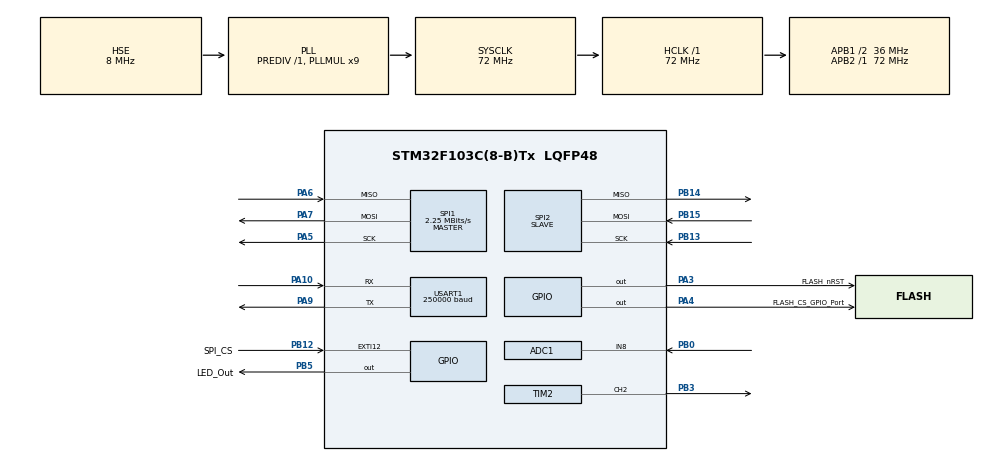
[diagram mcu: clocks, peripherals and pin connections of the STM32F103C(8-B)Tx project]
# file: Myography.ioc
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ADC1.Channel-1\#ChannelRegularConversion=ADC_CHANNEL_8
ADC1.ExternalTrigConv=ADC_EXTERNALTRIGCONV_T3_TRGO
ADC1.NbrOfConversionFlag=1
ADC1.Rank-1\#ChannelRegularConversion=1
ADC1.SamplingTime-1\#ChannelRegularConversion=ADC_SAMPLETIME_1CYCLE_5
ADC1.master=1
Mcu.Family=STM32F1
Mcu.Name=STM32F103C(8-B)Tx
Mcu.Package=LQFP48
NVIC.ADC1_2_IRQn=true\:2\:0\:true\:false\:true\:true\:true\:true
NVIC.EXTI15_10_IRQn=true\:1\:0\:true\:false\:true\:true\:true\:true
NVIC.PriorityGroup=NVIC_PRIORITYGROUP_4
NVIC.SPI2_IRQn=true\:1\:0\:true\:false\:true\:true\:true\:true
NVIC.TIM1_UP_IRQn=true\:0\:0\:false\:false\:true\:true\:true\:true
NVIC.TIM3_IRQn=true\:2\:0\:true\:false\:true\:true\:true\:true
NVIC.TIM4_IRQn=true\:3\:0\:true\:false\:true\:true\:true\:true
NVIC.USART1_IRQn=true\:2\:0\:true\:false\:true\:true\:true\:true
PA10.Mode=Asynchronous
PA10.Signal=USART1_RX
PA13.Mode=Serial_Wire
PA13.Signal=SYS_JTMS-SWDIO
PA14.Mode=Serial_Wire
PA14.Signal=SYS_JTCK-SWCLK
PA3.GPIO_Label=FLASH_nRST
PA3.Signal=GPIO_Output
PA4.GPIO_Label=FLASH_CS_GPIO_Port
PA4.Signal=GPIO_Output
PA5.Mode=Full_Duplex_Master
PA5.Signal=SPI1_SCK
PA6.Mode=Full_Duplex_Master
PA6.Signal=SPI1_MISO
PA7.Mode=Full_Duplex_Master
PA7.Signal=SPI1_MOSI
PA9.Mode=Asynchronous
PA9.Signal=USART1_TX
PB0.Signal=ADCx_IN8
PB12.GPIO_Label=SPI_CS
PB12.GPIO_ModeDefaultEXTI=GPIO_MODE_IT_RISING_FALLING
PB12.Signal=GPXTI12
PB13.Mode=Full_Duplex_Slave
PB13.Signal=SPI2_SCK
PB14.Mode=Full_Duplex_Slave
PB14.Signal=SPI2_MISO
PB15.Mode=Full_Duplex_Slave
PB15.Signal=SPI2_MOSI
PB3.Signal=S_TIM2_CH2
PB5.GPIO_Label=LED_Out
PB5.Signal=GPIO_Output
PD0-OSC_IN.Mode=HSE-External-Oscillator
PD0-OSC_IN.Signal=RCC_OSC_IN
PD1-OSC_OUT.Mode=HSE-External-Oscillator
PD1-OSC_OUT.Signal=RCC_OSC_OUT
ProjectManager.HeapSize=0x200
ProjectManager.StackSize=0x400
ProjectManager.TargetToolchain=STM32CubeIDE
RCC.ADCPresc=RCC_ADCPCLK2_DIV6
RCC.AHBFreq_Value=72000000
RCC.APB1CLKDivider=RCC_HCLK_DIV2
RCC.APB1Freq_Value=36000000
RCC.APB1TimFreq_Value=72000000
RCC.APB2Freq_Value=72000000
RCC.APB2TimFreq_Value=72000000
RCC.HCLKFreq_Value=72000000
RCC.PLLMUL=RCC_PLL_MUL9
RCC.PLLSourceVirtual=RCC_PLLSOURCE_HSE
RCC.SYSCLKFreq_VALUE=72000000
RCC.SYSCLKSource=RCC_SYSCLKSOURCE_PLLCLK
RCC.USBFreq_Value=72000000
SH.ADCx_IN8.0=ADC1_IN8,IN8
SH.S_TIM2_CH2.0=TIM2_CH2,PWM Generation2 CH2
SPI1.BaudRatePrescaler=SPI_BAUDRATEPRESCALER_32
SPI1.CLKPhase=SPI_PHASE_1EDGE
SPI1.CalculateBaudRate=2.25 MBits/s
SPI1.Direction=SPI_DIRECTION_2LINES
SPI1.Mode=SPI_MODE_MASTER
SPI1.VirtualType=VM_MASTER
SPI2.Direction=SPI_DIRECTION_2LINES
SPI2.Mode=SPI_MODE_SLAVE
SPI2.VirtualType=VM_SLAVE
TIM1.Period=9
TIM1.Prescaler=7199
TIM2.Channel-PWM\ Generation2\ CH2=TIM_CHANNEL_2
TIM2.OCPolarity_2=TIM_OCPOLARITY_LOW
TIM2.Period=501
TIM2.Prescaler=72
TIM2.Pulse-PWM\ Generation2\ CH2=1
TIM3.Period=999
TIM3.Prescaler=72
TIM3.TIM_MasterOutputTrigger=TIM_TRGO_OC1
TIM4.Period=1000
TIM4.Prescaler=65535
USART1.BaudRate=250000
USART1.VirtualMode=VM_ASYNC
VP_TIM1_VS_ClockSourceINT.Mode=Internal
VP_TIM2_VS_ClockSourceINT.Mode=Internal
VP_TIM2_VS_OPM.Mode=OPM_bit
VP_TIM3_VS_ClockSourceINT.Mode=Internal
VP_TIM4_VS_ClockSourceINT.Mode=Internal
board=custom

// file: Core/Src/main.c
/* USER CODE BEGIN Header */
/**
  ******************************************************************************
  * @file           : main.c
  * @brief          : Main program body
  ******************************************************************************
  * @attention
  *
  * Copyright (c) 2026 STMicroelectronics.
  * All rights reserved.
  *
  * This software is licensed under terms that can be found in the LICENSE file
  * in the root directory of this software component.
  * If no LICENSE file comes with this software, it is provided AS-IS.
  *
  ******************************************************************************
  */
/* USER CODE END Header */
#include "main.h"

/* USER CODE BEGIN Includes */
#include <stdio.h>
#include <string.h>
#include "w25q_spi.h"
#include "SPI_connection.h"
#include "protocol_parser.h"
#include "exp_protocol.h"
/* USER CODE END Includes */

ADC_HandleTypeDef hadc1;

SPI_HandleTypeDef hspi1;
SPI_HandleTypeDef hspi2;

TIM_HandleTypeDef htim1;
TIM_HandleTypeDef htim2;
TIM_HandleTypeDef htim3;
TIM_HandleTypeDef htim4;

UART_HandleTypeDef huart1;

/* USER CODE BEGIN PV */
extern w25_info_t  w25_info;
uint8_t rx_buf[1025];
uint8_t tx_buf[10];
extern volatile uint16_t ADC_data;
volatile char need_save = 0; // 0-idle, 1-save data
volatile char new_conv = 0; //new ADC conversion done
volatile uint32_t buf_ptr = 0, page_ptr = 0;
uint8_t res_buf[256] = {0};
bool write_cycle_closed = 0;
bool reach_end_of_flash = 0;
volatile uint16_t ADC_data_safe[10];
uint8_t data_buf[256];

bool need_to_send = false;
uint16_t ADC_data_safe_1;
/* USER CODE END PV */

void SystemClock_Config(void);
static void MX_GPIO_Init(void);
static void MX_SPI2_Init(void);
static void MX_USART1_UART_Init(void);
static void MX_SPI1_Init(void);
static void MX_TIM3_Init(void);
static void MX_ADC1_Init(void);
static void MX_TIM2_Init(void);
static void MX_TIM1_Init(void);
static void MX_TIM4_Init(void);

/* USER CODE BEGIN 0 */
volatile uint8_t dt1[10];
/* USER CODE END 0 */

int main(void)
{
  /* USER CODE BEGIN 1 */
//char uart_mode = 0;
  /* USER CODE END 1 */

  /* MCU Configuration--------------------------------------------------------*/

  /* Reset of all peripherals, Initializes the Flash interface and the Systick. */
  HAL_Init();

  /* Configure the system clock */
  SystemClock_Config();

  /* Initialize all configured peripherals */
  MX_GPIO_Init();
  MX_SPI2_Init();
  MX_USART1_UART_Init();
  MX_SPI1_Init();
  MX_TIM3_Init();
  MX_ADC1_Init();
  MX_TIM2_Init();
  MX_TIM1_Init();
  MX_TIM4_Init();
  /* USER CODE BEGIN 2 */
  //sensorInit();

  HAL_ADC_Start_IT(&hadc1);

  uart_init();
  /* USER CODE END 2 */

  /* Infinite loop */
  /* USER CODE BEGIN WHILE */

  while (1)
  {

	if (uart1_rx_complete) {
		parser_exp();
	}

	if (need_to_send) {
		need_to_send = false;
		send_data(ADC_data_safe_1);
	}

	  /*
	  if (spi_rx_complete) {
		  spi_rx_complete = false;
		  parserFSM();
	  }

	if (dt1[0] != 0 ) //received UART cmd
	{
	  HAL_UART_Receive_IT(&huart1,(uint8_t*)dt1,1);  //wait for cmd
	  //commands
	  if(dt1[0] == '0') //erase mem
	  {
		HAL_GPIO_WritePin(GPIOB, GPIO_PIN_5, GPIO_PIN_RESET);
		W25_Erase_Chip();
		page_ptr = 0;
		dt1[2] = 0x30; //mem is free
	  }
	  if(dt1[0] == '1') //start measure
	  {
		uart_mode = 0;
		HAL_GPIO_WritePin(GPIOB, GPIO_PIN_5, GPIO_PIN_RESET);
		need_save = 1;
	  }
	  if(dt1[0] == '2') //stop measure
	  {
		HAL_GPIO_WritePin(GPIOB, GPIO_PIN_5, GPIO_PIN_RESET);
		W25_Ini(0);
		need_save = 0;
	  }
	  if(dt1[0] == '3') //read mem, page addr in dt1[2..1]
	  {
		HAL_GPIO_WritePin(GPIOB, GPIO_PIN_5, GPIO_PIN_RESET);
		for ( uint32_t read_page_addr = 0; read_page_addr < 3900; read_page_addr++)
		{
		  W25_Read_Page(data_buf, read_page_addr, 0, w25_info.PageSize);
		  if ( (data_buf[0] == 0xFF) && (data_buf[1] == 0xFF) && (data_buf[2] == 0xFF) )
			break;
		  HAL_UART_Transmit(&huart1, data_buf, 256, 100);
		}
	  }
	  if(dt1[0] == '4')
	  {
		uart_mode = 1;
		HAL_GPIO_WritePin(GPIOB, GPIO_PIN_5, GPIO_PIN_RESET);
		need_save = 1;
	  }

	  if(dt1[0] == '9') //get flash ID
	  {
		HAL_GPIO_WritePin(GPIOB, GPIO_PIN_5, GPIO_PIN_RESET);
		W25_Ini(1);
		HAL_UART_Transmit(&huart1, (uint8_t const*)dt1+2, 1, 100);
	  }
	  dt1[0] = 0;
	  HAL_GPIO_WritePin(GPIOB, GPIO_PIN_5, GPIO_PIN_SET);
	} */

    // ADC_conv done
	/*
	if ((need_save) && (new_conv == 1)) //measure ongoing and new conversion recieved from ADC
	{
	 static union
	 {
	   uint16_t word;
	   uint8_t bytes[2];
	 } result_data;

	 new_conv = 0; //reset flag
	 result_data.word = ADC_data;
	 res_buf[buf_ptr] = result_data.bytes[0];
	 res_buf[buf_ptr+1] = result_data.bytes[1];
	 buf_ptr += 2;
	 if (buf_ptr > 255) //buf is full, need to save
	 {
	   HAL_GPIO_TogglePin(GPIOB, GPIO_PIN_5);
	   if (uart_mode) //send data to UART only (debug)
	   {
		 buf_ptr = 0;
		 HAL_UART_Transmit(&huart1, res_buf, 256, 100);
	   }
	   else //save to flash memory
	   {
		 if (page_ptr < w25_info.PageCount) //flash mem isn't full
		 {
			 W25_Write_Page(res_buf, page_ptr, 0, 256); //save 256 bytes to flash
			 buf_ptr = 0;
			 page_ptr++;
		 }
		 else
		 {
			 write_cycle_closed = 1;
			 need_save = 0;
			 dt1[2] = 0x31; //mem is full
		 }
	   }
	 }

	}

	// проверка на то, что флеш-память была считана до конца и был отправлен последний кадр данных
	if (reach_end_of_flash && !response_ready) {
		// сброс признака чтения конца флеш-памяти
		reach_end_of_flash = 0;

		// сохранение последнего внутреннего состояния датчика
		setLastFSMProtocolState(getFSMProtocolState());
		// переход в состояние сброса флеш-памяти
		setFSMProtocolState(RESET_FLASH_STATE);

		// сброс указателя номера записываемой страницы флеш
		page_ptr = 0;

		// очистка флеш-памяти
		HAL_GPIO_WritePin(GPIOB, GPIO_PIN_5, GPIO_PIN_RESET);
		W25_Erase_Chip();
		HAL_GPIO_WritePin(GPIOB, GPIO_PIN_5, GPIO_PIN_SET);
		// установка признака окончания стирания флеш-памяти (флаг проверяется в состоянии RESET_FLASH_STATE)
		reset_ready = 1;
	}
	*/
    /* USER CODE END WHILE */

  }
}

void SystemClock_Config(void)
{
  RCC_OscInitTypeDef RCC_OscInitStruct = {0};
  RCC_ClkInitTypeDef RCC_ClkInitStruct = {0};
  RCC_PeriphCLKInitTypeDef PeriphClkInit = {0};

  /** Initializes the RCC Oscillators according to the specified parameters
  * in the RCC_OscInitTypeDef structure.
  */
  RCC_OscInitStruct.OscillatorType = RCC_OSCILLATORTYPE_HSE;
  RCC_OscInitStruct.HSEState = RCC_HSE_ON;
  RCC_OscInitStruct.HSEPredivValue = RCC_HSE_PREDIV_DIV1;
  RCC_OscInitStruct.HSIState = RCC_HSI_ON;
  RCC_OscInitStruct.PLL.PLLState = RCC_PLL_ON;
  RCC_OscInitStruct.PLL.PLLSource = RCC_PLLSOURCE_HSE;
  RCC_OscInitStruct.PLL.PLLMUL = RCC_PLL_MUL9;
  if (HAL_RCC_OscConfig(&RCC_OscInitStruct) != HAL_OK)
  {
    Error_Handler();
  }

  /** Initializes the CPU, AHB and APB buses clocks
  */
  RCC_ClkInitStruct.ClockType = RCC_CLOCKTYPE_HCLK|RCC_CLOCKTYPE_SYSCLK
                              |RCC_CLOCKTYPE_PCLK1|RCC_CLOCKTYPE_PCLK2;
  RCC_ClkInitStruct.SYSCLKSource = RCC_SYSCLKSOURCE_PLLCLK;
  RCC_ClkInitStruct.AHBCLKDivider = RCC_SYSCLK_DIV1;
  RCC_ClkInitStruct.APB1CLKDivider = RCC_HCLK_DIV2;
  RCC_ClkInitStruct.APB2CLKDivider = RCC_HCLK_DIV1;

  if (HAL_RCC_ClockConfig(&RCC_ClkInitStruct, FLASH_LATENCY_2) != HAL_OK)
  {
    Error_Handler();
  }
  PeriphClkInit.PeriphClockSelection = RCC_PERIPHCLK_ADC;
  PeriphClkInit.AdcClockSelection = RCC_ADCPCLK2_DIV6;
  if (HAL_RCCEx_PeriphCLKConfig(&PeriphClkInit) != HAL_OK)
  {
    Error_Handler();
  }
}

static void MX_ADC1_Init(void)
{

  ADC_ChannelConfTypeDef sConfig = {0};

  /** Common config
  */
  hadc1.Instance = ADC1;
  hadc1.Init.ScanConvMode = ADC_SCAN_DISABLE;
  hadc1.Init.ContinuousConvMode = DISABLE;
  hadc1.Init.DiscontinuousConvMode = DISABLE;
  hadc1.Init.ExternalTrigConv = ADC_EXTERNALTRIGCONV_T3_TRGO;
  hadc1.Init.DataAlign = ADC_DATAALIGN_RIGHT;
  hadc1.Init.NbrOfConversion = 1;
  if (HAL_ADC_Init(&hadc1) != HAL_OK)
  {
    Error_Handler();
  }

  /** Configure Regular Channel
  */
  sConfig.Channel = ADC_CHANNEL_8;
  sConfig.Rank = ADC_REGULAR_RANK_1;
  sConfig.SamplingTime = ADC_SAMPLETIME_1CYCLE_5;
  if (HAL_ADC_ConfigChannel(&hadc1, &sConfig) != HAL_OK)
  {
    Error_Handler();
  }

}

static void MX_SPI1_Init(void)
{

  /* SPI1 parameter configuration*/
  hspi1.Instance = SPI1;
  hspi1.Init.Mode = SPI_MODE_MASTER;
  hspi1.Init.Direction = SPI_DIRECTION_2LINES;
  hspi1.Init.DataSize = SPI_DATASIZE_8BIT;
  hspi1.Init.CLKPolarity = SPI_POLARITY_LOW;
  hspi1.Init.CLKPhase = SPI_PHASE_1EDGE;
  hspi1.Init.NSS = SPI_NSS_SOFT;
  hspi1.Init.BaudRatePrescaler = SPI_BAUDRATEPRESCALER_32;
  hspi1.Init.FirstBit = SPI_FIRSTBIT_MSB;
  hspi1.Init.TIMode = SPI_TIMODE_DISABLE;
  hspi1.Init.CRCCalculation = SPI_CRCCALCULATION_DISABLE;
  hspi1.Init.CRCPolynomial = 10;
  if (HAL_SPI_Init(&hspi1) != HAL_OK)
  {
    Error_Handler();
  }

}

static void MX_SPI2_Init(void)
{

  /* SPI2 parameter configuration*/
  hspi2.Instance = SPI2;
  hspi2.Init.Mode = SPI_MODE_SLAVE;
  hspi2.Init.Direction = SPI_DIRECTION_2LINES;
  hspi2.Init.DataSize = SPI_DATASIZE_8BIT;
  hspi2.Init.CLKPolarity = SPI_POLARITY_LOW;
  hspi2.Init.CLKPhase = SPI_PHASE_1EDGE;
  hspi2.Init.NSS = SPI_NSS_SOFT;
  hspi2.Init.FirstBit = SPI_FIRSTBIT_MSB;
  hspi2.Init.TIMode = SPI_TIMODE_DISABLE;
  hspi2.Init.CRCCalculation = SPI_CRCCALCULATION_DISABLE;
  hspi2.Init.CRCPolynomial = 10;
  if (HAL_SPI_Init(&hspi2) != HAL_OK)
  {
    Error_Handler();
  }

}

static void MX_TIM1_Init(void)
{

  TIM_ClockConfigTypeDef sClockSourceConfig = {0};
  TIM_MasterConfigTypeDef sMasterConfig = {0};

  htim1.Instance = TIM1;
  htim1.Init.Prescaler = 7199;
  htim1.Init.CounterMode = TIM_COUNTERMODE_UP;
  htim1.Init.Period = 9;
  htim1.Init.ClockDivision = TIM_CLOCKDIVISION_DIV1;
  htim1.Init.RepetitionCounter = 0;
  htim1.Init.AutoReloadPreload = TIM_AUTORELOAD_PRELOAD_DISABLE;
  if (HAL_TIM_Base_Init(&htim1) != HAL_OK)
  {
    Error_Handler();
  }
  sClockSourceConfig.ClockSource = TIM_CLOCKSOURCE_INTERNAL;
  if (HAL_TIM_ConfigClockSource(&htim1, &sClockSourceConfig) != HAL_OK)
  {
    Error_Handler();
  }
  sMasterConfig.MasterOutputTrigger = TIM_TRGO_RESET;
  sMasterConfig.MasterSlaveMode = TIM_MASTERSLAVEMODE_DISABLE;
  if (HAL_TIMEx_MasterConfigSynchronization(&htim1, &sMasterConfig) != HAL_OK)
  {
    Error_Handler();
  }

}

static void MX_TIM2_Init(void)
{

  TIM_ClockConfigTypeDef sClockSourceConfig = {0};
  TIM_MasterConfigTypeDef sMasterConfig = {0};
  TIM_OC_InitTypeDef sConfigOC = {0};

  htim2.Instance = TIM2;
  htim2.Init.Prescaler = 72;
  htim2.Init.CounterMode = TIM_COUNTERMODE_UP;
  htim2.Init.Period = 501;
  htim2.Init.ClockDivision = TIM_CLOCKDIVISION_DIV1;
  htim2.Init.AutoReloadPreload = TIM_AUTORELOAD_PRELOAD_DISABLE;
  if (HAL_TIM_Base_Init(&htim2) != HAL_OK)
  {
    Error_Handler();
  }
  sClockSourceConfig.ClockSource = TIM_CLOCKSOURCE_INTERNAL;
  if (HAL_TIM_ConfigClockSource(&htim2, &sClockSourceConfig) != HAL_OK)
  {
    Error_Handler();
  }
  if (HAL_TIM_PWM_Init(&htim2) != HAL_OK)
  {
    Error_Handler();
  }
  if (HAL_TIM_OnePulse_Init(&htim2, TIM_OPMODE_SINGLE) != HAL_OK)
  {
    Error_Handler();
  }
  sMasterConfig.MasterOutputTrigger = TIM_TRGO_RESET;
  sMasterConfig.MasterSlaveMode = TIM_MASTERSLAVEMODE_DISABLE;
  if (HAL_TIMEx_MasterConfigSynchronization(&htim2, &sMasterConfig) != HAL_OK)
  {
    Error_Handler();
  }
  sConfigOC.OCMode = TIM_OCMODE_PWM1;
  sConfigOC.Pulse = 1;
  sConfigOC.OCPolarity = TIM_OCPOLARITY_LOW;
  sConfigOC.OCFastMode = TIM_OCFAST_DISABLE;
  if (HAL_TIM_PWM_ConfigChannel(&htim2, &sConfigOC, TIM_CHANNEL_2) != HAL_OK)
  {
    Error_Handler();
  }
  HAL_TIM_MspPostInit(&htim2);

}

static void MX_TIM3_Init(void)
{

  TIM_ClockConfigTypeDef sClockSourceConfig = {0};
  TIM_MasterConfigTypeDef sMasterConfig = {0};

  htim3.Instance = TIM3;
  htim3.Init.Prescaler = 72;
  htim3.Init.CounterMode = TIM_COUNTERMODE_UP;
  htim3.Init.Period = 999;
  htim3.Init.ClockDivision = TIM_CLOCKDIVISION_DIV1;
  htim3.Init.AutoReloadPreload = TIM_AUTORELOAD_PRELOAD_DISABLE;
  if (HAL_TIM_Base_Init(&htim3) != HAL_OK)
  {
    Error_Handler();
  }
  sClockSourceConfig.ClockSource = TIM_CLOCKSOURCE_INTERNAL;
  if (HAL_TIM_ConfigClockSource(&htim3, &sClockSourceConfig) != HAL_OK)
  {
    Error_Handler();
  }
  sMasterConfig.MasterOutputTrigger = TIM_TRGO_OC1;
  sMasterConfig.MasterSlaveMode = TIM_MASTERSLAVEMODE_DISABLE;
  if (HAL_TIMEx_MasterConfigSynchronization(&htim3, &sMasterConfig) != HAL_OK)
  {
    Error_Handler();
  }

}

static void MX_TIM4_Init(void)
{

  TIM_ClockConfigTypeDef sClockSourceConfig = {0};
  TIM_MasterConfigTypeDef sMasterConfig = {0};

  htim4.Instance = TIM4;
  htim4.Init.Prescaler = 65535;
  htim4.Init.CounterMode = TIM_COUNTERMODE_UP;
  htim4.Init.Period = 1000;
  htim4.Init.ClockDivision = TIM_CLOCKDIVISION_DIV1;
  htim4.Init.AutoReloadPreload = TIM_AUTORELOAD_PRELOAD_DISABLE;
  if (HAL_TIM_Base_Init(&htim4) != HAL_OK)
  {
    Error_Handler();
  }
  sClockSourceConfig.ClockSource = TIM_CLOCKSOURCE_INTERNAL;
  if (HAL_TIM_ConfigClockSource(&htim4, &sClockSourceConfig) != HAL_OK)
  {
    Error_Handler();
  }
  sMasterConfig.MasterOutputTrigger = TIM_TRGO_RESET;
  sMasterConfig.MasterSlaveMode = TIM_MASTERSLAVEMODE_DISABLE;
  if (HAL_TIMEx_MasterConfigSynchronization(&htim4, &sMasterConfig) != HAL_OK)
  {
    Error_Handler();
  }

}

static void MX_USART1_UART_Init(void)
{

  huart1.Instance = USART1;
  huart1.Init.BaudRate = 250000;
  huart1.Init.WordLength = UART_WORDLENGTH_8B;
  huart1.Init.StopBits = UART_STOPBITS_1;
  huart1.Init.Parity = UART_PARITY_NONE;
  huart1.Init.Mode = UART_MODE_TX_RX;
  huart1.Init.HwFlowCtl = UART_HWCONTROL_NONE;
  huart1.Init.OverSampling = UART_OVERSAMPLING_16;
  if (HAL_UART_Init(&huart1) != HAL_OK)
  {
    Error_Handler();
  }

}

static void MX_GPIO_Init(void)
{
  GPIO_InitTypeDef GPIO_InitStruct = {0};

  /* GPIO Ports Clock Enable */
  __HAL_RCC_GPIOD_CLK_ENABLE();
  __HAL_RCC_GPIOA_CLK_ENABLE();
  __HAL_RCC_GPIOB_CLK_ENABLE();

  /*Configure GPIO pin Output Level */
  HAL_GPIO_WritePin(GPIOA, FLASH_nRST_Pin|FLASH_CS_GPIO_Port_Pin, GPIO_PIN_RESET);

  /*Configure GPIO pin Output Level */
  HAL_GPIO_WritePin(LED_Out_GPIO_Port, LED_Out_Pin, GPIO_PIN_RESET);

  /*Configure GPIO pins : FLASH_nRST_Pin FLASH_CS_GPIO_Port_Pin */
  GPIO_InitStruct.Pin = FLASH_nRST_Pin|FLASH_CS_GPIO_Port_Pin;
  GPIO_InitStruct.Mode = GPIO_MODE_OUTPUT_PP;
  GPIO_InitStruct.Pull = GPIO_NOPULL;
  GPIO_InitStruct.Speed = GPIO_SPEED_FREQ_LOW;
  HAL_GPIO_Init(GPIOA, &GPIO_InitStruct);

  /*Configure GPIO pin : SPI_CS_Pin */
  GPIO_InitStruct.Pin = SPI_CS_Pin;
  GPIO_InitStruct.Mode = GPIO_MODE_IT_RISING_FALLING;
  GPIO_InitStruct.Pull = GPIO_NOPULL;
  HAL_GPIO_Init(SPI_CS_GPIO_Port, &GPIO_InitStruct);

  /*Configure GPIO pin : LED_Out_Pin */
  GPIO_InitStruct.Pin = LED_Out_Pin;
  GPIO_InitStruct.Mode = GPIO_MODE_OUTPUT_PP;
  GPIO_InitStruct.Pull = GPIO_NOPULL;
  GPIO_InitStruct.Speed = GPIO_SPEED_FREQ_LOW;
  HAL_GPIO_Init(LED_Out_GPIO_Port, &GPIO_InitStruct);

  /* EXTI interrupt init*/
  HAL_NVIC_SetPriority(EXTI15_10_IRQn, 1, 0);
  HAL_NVIC_EnableIRQ(EXTI15_10_IRQn);

}

void Error_Handler(void)
{
  __disable_irq();
  while (1)
  {
  }
}
